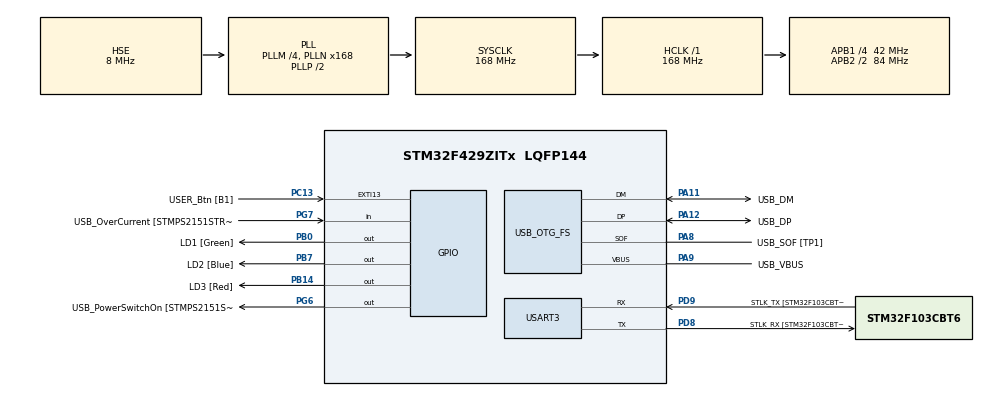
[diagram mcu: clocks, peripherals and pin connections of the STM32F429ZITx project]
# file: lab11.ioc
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Mcu.Family=STM32F4
Mcu.Name=STM32F429ZITx
Mcu.Package=LQFP144
NVIC.OTG_FS_IRQn=true\:0\:0\:false\:false\:true\:false\:true\:true
NVIC.PriorityGroup=NVIC_PRIORITYGROUP_4
PA1.GPIO_Label=RMII_REF_CLK [LAN8742A-CZ-TR_REFCLK0]
PA1.Signal=ETH_REF_CLK
PA10.GPIO_Label=USB_ID
PA10.Signal=USB_OTG_FS_ID
PA11.GPIO_Label=USB_DM
PA11.Mode=Device_Only
PA11.Signal=USB_OTG_FS_DM
PA12.GPIO_Label=USB_DP
PA12.Mode=Device_Only
PA12.Signal=USB_OTG_FS_DP
PA13.GPIO_Label=TMS
PA13.Mode=Serial_Wire
PA13.Signal=SYS_JTMS-SWDIO
PA14.GPIO_Label=TCK
PA14.Mode=Serial_Wire
PA14.Signal=SYS_JTCK-SWCLK
PA2.GPIO_Label=RMII_MDIO [LAN8742A-CZ-TR_MDIO]
PA2.Signal=ETH_MDIO
PA7.GPIO_Label=RMII_CRS_DV [LAN8742A-CZ-TR_CRS_DV]
PA7.Signal=ETH_CRS_DV
PA8.GPIO_Label=USB_SOF [TP1]
PA8.Mode=Activate_SOF_FS
PA8.Signal=USB_OTG_FS_SOF
PA9.GPIO_Label=USB_VBUS
PA9.Mode=Activate_VBUS
PA9.Signal=USB_OTG_FS_VBUS
PB0.GPIO_Label=LD1 [Green]
PB0.Signal=GPIO_Output
PB13.GPIO_Label=RMII_TXD1 [LAN8742A-CZ-TR_TXD1]
PB13.Signal=ETH_TXD1
PB14.GPIO_Label=LD3 [Red]
PB14.Signal=GPIO_Output
PB7.GPIO_Label=LD2 [Blue]
PB7.Signal=GPIO_Output
PC1.GPIO_Label=RMII_MDC [LAN8742A-CZ-TR_MDC]
PC1.Signal=ETH_MDC
PC13.GPIO_Label=USER_Btn [B1]
PC13.Signal=GPXTI13
PC14/OSC32_IN.Mode=LSE-External-Oscillator
PC14/OSC32_IN.Signal=RCC_OSC32_IN
PC15/OSC32_OUT.Mode=LSE-External-Oscillator
PC15/OSC32_OUT.Signal=RCC_OSC32_OUT
PC4.GPIO_Label=RMII_RXD0 [LAN8742A-CZ-TR_RXD0]
PC4.Signal=ETH_RXD0
PC5.GPIO_Label=RMII_RXD1 [LAN8742A-CZ-TR_RXD1]
PC5.Signal=ETH_RXD1
PD8.GPIO_Label=STLK_RX [STM32F103CBT6_PA3]
PD8.Mode=Asynchronous
PD8.Signal=USART3_TX
PD9.GPIO_Label=STLK_TX [STM32F103CBT6_PA2]
PD9.Mode=Asynchronous
PD9.Signal=USART3_RX
PG11.GPIO_Label=RMII_TX_EN [LAN8742A-CZ-TR_TXEN]
PG11.Signal=ETH_TX_EN
PG13.GPIO_Label=RMII_TXD0 [LAN8742A-CZ-TR_TXD0]
PG13.Signal=ETH_TXD0
PG6.GPIO_Label=USB_PowerSwitchOn [STMPS2151STR_EN]
PG6.Signal=GPIO_Output
PG7.GPIO_Label=USB_OverCurrent [STMPS2151STR_FAULT]
PG7.Signal=GPIO_Input
PH0/OSC_IN.GPIO_Label=MCO [STM32F103CBT6_PA8]
PH0/OSC_IN.Mode=HSE-External-Clock-Source
PH0/OSC_IN.Signal=RCC_OSC_IN
PH1/OSC_OUT.Mode=HSE-External-Clock-Source
PH1/OSC_OUT.Signal=RCC_OSC_OUT
ProjectManager.HeapSize=0x200
ProjectManager.StackSize=0x400
ProjectManager.TargetToolchain=STM32CubeIDE
RCC.48MHZClocksFreq_Value=48000000
RCC.AHBFreq_Value=168000000
RCC.APB1CLKDivider=RCC_HCLK_DIV4
RCC.APB1Freq_Value=42000000
RCC.APB1TimFreq_Value=84000000
RCC.APB2CLKDivider=RCC_HCLK_DIV2
RCC.APB2Freq_Value=84000000
RCC.APB2TimCLKDivider=2
RCC.APB2TimFreq_Value=168000000
RCC.CortexFreq_Value=168000000
RCC.HCLKFreq_Value=168000000
RCC.HSE_VALUE=8000000
RCC.HSI_VALUE=16000000
RCC.PLLM=4
RCC.PLLMUL=RCC_PLL_MUL9
RCC.PLLN=168
RCC.PLLQ=7
RCC.PRESCALERUSB=RCC_USBCLKSOURCE_PLL_DIV1_5
RCC.SYSCLKFreq_VALUE=168000000
RCC.SYSCLKSource=RCC_SYSCLKSOURCE_PLLCLK
RCC.SYSCLKSourceVirtual=RCC_SYSCLKSOURCE_PLLCLK
RCC.USBFreq_Value=48000000
RCC.VCOOutputFreq_Value=336000000
USART3.VirtualMode=VM_ASYNC
USB_DEVICE.CLASS_NAME_FS=HID
USB_DEVICE.VirtualMode-HID_FS=Hid
USB_DEVICE.VirtualModeFS=Hid_FS
USB_OTG_FS.VirtualMode=Device_Only
VP_USB_DEVICE_VS_USB_DEVICE_HID_FS.Mode=HID_FS
board=NUCLEO-F429ZI

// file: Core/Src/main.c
/* USER CODE BEGIN Header */
/**
  ******************************************************************************
  * @file           : main.c
  * @brief          : Main program body
  ******************************************************************************
  * @attention
  *
  * Copyright (c) 2023 STMicroelectronics.
  * All rights reserved.
  *
  * This software is licensed under terms that can be found in the LICENSE file
  * in the root directory of this software component.
  * If no LICENSE file comes with this software, it is provided AS-IS.
  *
  ******************************************************************************
  */
/* USER CODE END Header */
#include "main.h"
#include "usb_device.h"

/* USER CODE BEGIN Includes */
#include "usbd_hid.h"
#include "math.h"
extern USBD_HandleTypeDef hUsbDeviceFS;
/* USER CODE END Includes */

UART_HandleTypeDef huart3;

void SystemClock_Config(void);
static void MX_GPIO_Init(void);
static void MX_USART3_UART_Init(void);

/* USER CODE BEGIN 0 */
void step(int8_t x_step, int8_t y_step, int8_t tlacitko) {
	uint8_t buff[4];
	buff[0] = tlacitko; // stiskni leve tlacitko
	buff[1] = x_step; // posun X +10
	buff[2] = y_step; // posun Y -3
	buff[3] = 0; // bez scrollu
	USBD_HID_SendReport(&hUsbDeviceFS, buff, sizeof(buff));
	HAL_Delay(USBD_HID_GetPollingInterval(&hUsbDeviceFS));
}

void circle(uint32_t r){
	int32_t sx = 0;
	int32_t sy = 0;
	for (uint32_t i = 0; i < 51; i++){
		float x = r*cosf(i*2*M_PI/50);
		float y = r*sinf(i*2*M_PI/50);
		int32_t dx = x - sx;
		int32_t dy = y - sy;
		step(dx, dy, 1);
		sx = sx + dx;
		sy = sy + dy;
	}
	step(0,0,0);
}

void oblouk(uint32_t r){
	int32_t sx = 0;
	int32_t sy = 0;
	for (uint32_t i = 0; i < 25; i++){
		float x = r*cosf(i*2*M_PI/50);
		float y = r*sinf(i*2*M_PI/50);
		int32_t dx = x - sx;
		int32_t dy = y - sy;
		step(dx, dy, 1);
		sx = sx + dx;
		sy = sy + dy;
	}
	step(0,0,0);
}
/* USER CODE END 0 */

int main(void)
{

  /* MCU Configuration--------------------------------------------------------*/

  /* Reset of all peripherals, Initializes the Flash interface and the Systick. */

	HAL_Init();

  /* Configure the system clock */
  SystemClock_Config();

  /* Initialize all configured peripherals */
  MX_GPIO_Init();
  MX_USART3_UART_Init();
  MX_USB_DEVICE_Init();

  /* Infinite loop */
  while (1)
  {

    /* USER CODE BEGIN 3 */
	  if (HAL_GPIO_ReadPin(USER_Btn_GPIO_Port, USER_Btn_Pin)){
		  step(0,0,0);
		  circle(150); // hlava
		  step(-70,-20,0);
		  circle(10); // oko 1
		  step(-120,0,0);
		  circle(10);// oko 2
		  step(60,0,0);
		  step(0,0,1);
		  step(0,30,1); // nos
		  step(0,0,0);
		  step(-50,20,0);
		  oblouk(75); // pusa
	  }
  }
  /* USER CODE END 3 */
}

void SystemClock_Config(void)
{
  RCC_OscInitTypeDef RCC_OscInitStruct = {0};
  RCC_ClkInitTypeDef RCC_ClkInitStruct = {0};

  /** Configure the main internal regulator output voltage
  */
  __HAL_RCC_PWR_CLK_ENABLE();
  __HAL_PWR_VOLTAGESCALING_CONFIG(PWR_REGULATOR_VOLTAGE_SCALE1);

  /** Initializes the RCC Oscillators according to the specified parameters
  * in the RCC_OscInitTypeDef structure.
  */
  RCC_OscInitStruct.OscillatorType = RCC_OSCILLATORTYPE_HSE;
  RCC_OscInitStruct.HSEState = RCC_HSE_BYPASS;
  RCC_OscInitStruct.PLL.PLLState = RCC_PLL_ON;
  RCC_OscInitStruct.PLL.PLLSource = RCC_PLLSOURCE_HSE;
  RCC_OscInitStruct.PLL.PLLM = 4;
  RCC_OscInitStruct.PLL.PLLN = 168;
  RCC_OscInitStruct.PLL.PLLP = RCC_PLLP_DIV2;
  RCC_OscInitStruct.PLL.PLLQ = 7;
  if (HAL_RCC_OscConfig(&RCC_OscInitStruct) != HAL_OK)
  {
    Error_Handler();
  }

  /** Initializes the CPU, AHB and APB buses clocks
  */
  RCC_ClkInitStruct.ClockType = RCC_CLOCKTYPE_HCLK|RCC_CLOCKTYPE_SYSCLK
                              |RCC_CLOCKTYPE_PCLK1|RCC_CLOCKTYPE_PCLK2;
  RCC_ClkInitStruct.SYSCLKSource = RCC_SYSCLKSOURCE_PLLCLK;
  RCC_ClkInitStruct.AHBCLKDivider = RCC_SYSCLK_DIV1;
  RCC_ClkInitStruct.APB1CLKDivider = RCC_HCLK_DIV4;
  RCC_ClkInitStruct.APB2CLKDivider = RCC_HCLK_DIV2;

  if (HAL_RCC_ClockConfig(&RCC_ClkInitStruct, FLASH_LATENCY_5) != HAL_OK)
  {
    Error_Handler();
  }
}

static void MX_USART3_UART_Init(void)
{

  huart3.Instance = USART3;
  huart3.Init.BaudRate = 115200;
  huart3.Init.WordLength = UART_WORDLENGTH_8B;
  huart3.Init.StopBits = UART_STOPBITS_1;
  huart3.Init.Parity = UART_PARITY_NONE;
  huart3.Init.Mode = UART_MODE_TX_RX;
  huart3.Init.HwFlowCtl = UART_HWCONTROL_NONE;
  huart3.Init.OverSampling = UART_OVERSAMPLING_16;
  if (HAL_UART_Init(&huart3) != HAL_OK)
  {
    Error_Handler();
  }

}

static void MX_GPIO_Init(void)
{
  GPIO_InitTypeDef GPIO_InitStruct = {0};

  /* GPIO Ports Clock Enable */
  __HAL_RCC_GPIOC_CLK_ENABLE();
  __HAL_RCC_GPIOH_CLK_ENABLE();
  __HAL_RCC_GPIOA_CLK_ENABLE();
  __HAL_RCC_GPIOB_CLK_ENABLE();
  __HAL_RCC_GPIOD_CLK_ENABLE();
  __HAL_RCC_GPIOG_CLK_ENABLE();

  /*Configure GPIO pin Output Level */
  HAL_GPIO_WritePin(GPIOB, LD1_Pin|LD3_Pin|LD2_Pin, GPIO_PIN_RESET);

  /*Configure GPIO pin Output Level */
  HAL_GPIO_WritePin(USB_PowerSwitchOn_GPIO_Port, USB_PowerSwitchOn_Pin, GPIO_PIN_RESET);

  /*Configure GPIO pin : USER_Btn_Pin */
  GPIO_InitStruct.Pin = USER_Btn_Pin;
  GPIO_InitStruct.Mode = GPIO_MODE_IT_RISING;
  GPIO_InitStruct.Pull = GPIO_NOPULL;
  HAL_GPIO_Init(USER_Btn_GPIO_Port, &GPIO_InitStruct);

  /*Configure GPIO pins : RMII_MDC_Pin RMII_RXD0_Pin RMII_RXD1_Pin */
  GPIO_InitStruct.Pin = RMII_MDC_Pin|RMII_RXD0_Pin|RMII_RXD1_Pin;
  GPIO_InitStruct.Mode = GPIO_MODE_AF_PP;
  GPIO_InitStruct.Pull = GPIO_NOPULL;
  GPIO_InitStruct.Speed = GPIO_SPEED_FREQ_VERY_HIGH;
  GPIO_InitStruct.Alternate = GPIO_AF11_ETH;
  HAL_GPIO_Init(GPIOC, &GPIO_InitStruct);

  /*Configure GPIO pins : RMII_REF_CLK_Pin RMII_MDIO_Pin RMII_CRS_DV_Pin */
  GPIO_InitStruct.Pin = RMII_REF_CLK_Pin|RMII_MDIO_Pin|RMII_CRS_DV_Pin;
  GPIO_InitStruct.Mode = GPIO_MODE_AF_PP;
  GPIO_InitStruct.Pull = GPIO_NOPULL;
  GPIO_InitStruct.Speed = GPIO_SPEED_FREQ_VERY_HIGH;
  GPIO_InitStruct.Alternate = GPIO_AF11_ETH;
  HAL_GPIO_Init(GPIOA, &GPIO_InitStruct);

  /*Configure GPIO pins : LD1_Pin LD3_Pin LD2_Pin */
  GPIO_InitStruct.Pin = LD1_Pin|LD3_Pin|LD2_Pin;
  GPIO_InitStruct.Mode = GPIO_MODE_OUTPUT_PP;
  GPIO_InitStruct.Pull = GPIO_NOPULL;
  GPIO_InitStruct.Speed = GPIO_SPEED_FREQ_LOW;
  HAL_GPIO_Init(GPIOB, &GPIO_InitStruct);

  /*Configure GPIO pin : RMII_TXD1_Pin */
  GPIO_InitStruct.Pin = RMII_TXD1_Pin;
  GPIO_InitStruct.Mode = GPIO_MODE_AF_PP;
  GPIO_InitStruct.Pull = GPIO_NOPULL;
  GPIO_InitStruct.Speed = GPIO_SPEED_FREQ_VERY_HIGH;
  GPIO_InitStruct.Alternate = GPIO_AF11_ETH;
  HAL_GPIO_Init(RMII_TXD1_GPIO_Port, &GPIO_InitStruct);

  /*Configure GPIO pin : USB_PowerSwitchOn_Pin */
  GPIO_InitStruct.Pin = USB_PowerSwitchOn_Pin;
  GPIO_InitStruct.Mode = GPIO_MODE_OUTPUT_PP;
  GPIO_InitStruct.Pull = GPIO_NOPULL;
  GPIO_InitStruct.Speed = GPIO_SPEED_FREQ_LOW;
  HAL_GPIO_Init(USB_PowerSwitchOn_GPIO_Port, &GPIO_InitStruct);

  /*Configure GPIO pin : USB_OverCurrent_Pin */
  GPIO_InitStruct.Pin = USB_OverCurrent_Pin;
  GPIO_InitStruct.Mode = GPIO_MODE_INPUT;
  GPIO_InitStruct.Pull = GPIO_NOPULL;
  HAL_GPIO_Init(USB_OverCurrent_GPIO_Port, &GPIO_InitStruct);

  /*Configure GPIO pins : RMII_TX_EN_Pin RMII_TXD0_Pin */
  GPIO_InitStruct.Pin = RMII_TX_EN_Pin|RMII_TXD0_Pin;
  GPIO_InitStruct.Mode = GPIO_MODE_AF_PP;
  GPIO_InitStruct.Pull = GPIO_NOPULL;
  GPIO_InitStruct.Speed = GPIO_SPEED_FREQ_VERY_HIGH;
  GPIO_InitStruct.Alternate = GPIO_AF11_ETH;
  HAL_GPIO_Init(GPIOG, &GPIO_InitStruct);

}

void Error_Handler(void)
{
  __disable_irq();
  while (1)
  {
  }
}
